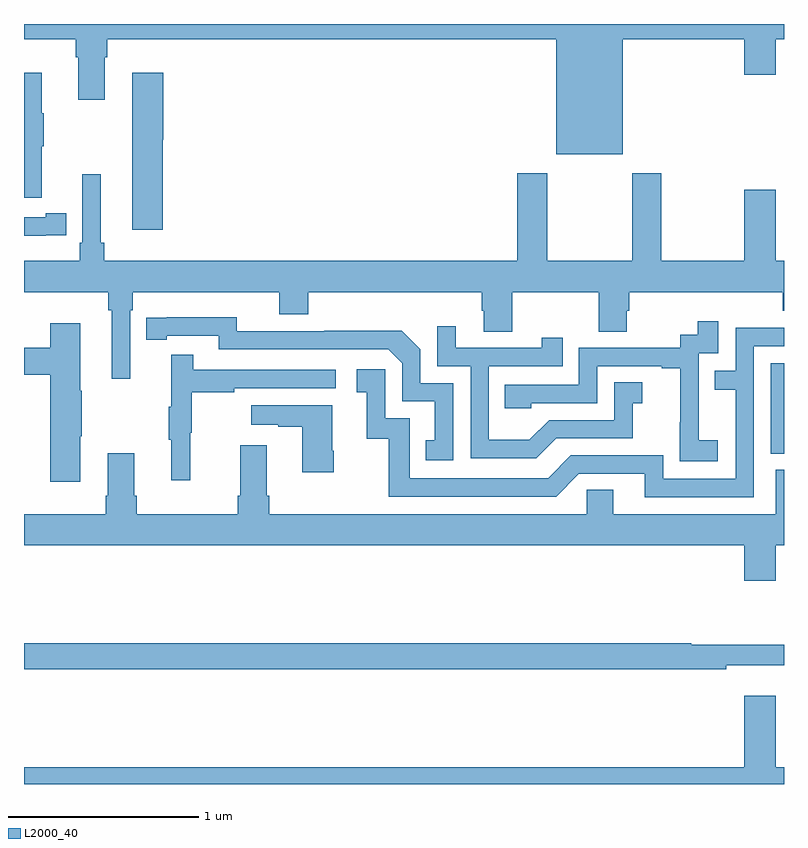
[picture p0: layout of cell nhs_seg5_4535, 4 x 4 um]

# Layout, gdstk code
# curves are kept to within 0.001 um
import gdstk
lib = gdstk.Library(unit=1e-6, precision=1e-09)
def R(c, l, rs):  # rectangles x0, y0, x1, y1
    for r in rs: c.add(gdstk.rectangle(r[:2], r[2:], *l))
def P(c, l, *ps):  # polygons
    for p in ps: c.add(gdstk.Polygon(p, *l))
L2000_40 = (2000, 40)

nhs_seg5_4535 = lib.new_cell('nhs_seg5_4535')
R(nhs_seg5_4535, L2000_40, [(380.931,894.537,381,895.014)])
P(nhs_seg5_4535, L2000_40, [(380.152,896.72),(380.792,896.72),(380.792,896.532),(380.956,896.532),(380.956,896.72),(381,896.72),(381,896.799),(377,896.799),(377,896.72),(377.273,896.72),(377.273,896.624),(377.285,896.624),(377.285,896.4),(377.425,896.4),(377.425,896.624),(377.438,896.624),(377.438,896.72),(379.802,896.72),(379.802,896.114),(380.152,896.114)],
  [(377.729,896.19),(377.734,896.19),(377.734,896.542),(377.57,896.542),(377.57,895.716),(377.729,895.716)],
  [(377.093,896.155),(377.104,896.155),(377.104,896.329),(377.093,896.329),(377.093,896.542),(377,896.542),(377,895.884),(377.093,895.884)],
  [(377.559,895.292),(377.573,895.292),(377.573,895.388),(378.344,895.388),(378.344,895.271),(378.497,895.271),(378.497,895.388),(379.409,895.388),(379.409,895.29),(379.421,895.29),(379.421,895.18),(379.569,895.18),(379.569,895.388),(380.026,895.388),(380.026,895.18),(380.173,895.18),(380.173,895.29),(380.186,895.29),(380.186,895.388),(380.993,895.388),(380.993,895.289),(381,895.289),(381,895.552),(380.956,895.552),(380.956,895.927),(380.792,895.927),(380.792,895.552),(380.355,895.552),(380.355,896.014),(380.2,896.014),(380.2,895.552),(379.755,895.552),(379.755,896.014),(379.595,896.014),(379.595,895.552),(377.423,895.552),(377.423,895.648),(377.404,895.648),(377.404,896.008),(377.307,896.008),(377.307,895.648),(377.294,895.648),(377.294,895.552),(377,895.552),(377,895.388),(377.443,895.388),(377.443,895.292),(377.462,895.292),(377.462,894.933),(377.559,894.933)],
  [(377.114,895.686),(377.222,895.686),(377.222,895.802),(377.114,895.802),(377.114,895.782),(377,895.782),(377,895.685),(377.114,895.685)],
  [(379.26,894.909),(379.086,894.909),(379.086,895.086),(378.988,895.184),(378.58,895.184),(378.58,895.182),(378.12,895.182),(378.12,895.255),(377.644,895.254),(377.644,895.138),(377.752,895.138),(377.752,895.158),(378.024,895.158),(378.024,895.086),(378.918,895.086),(378.99,895.014),(378.99,894.813),(379.163,894.813),(379.163,894.609),(379.114,894.609),(379.114,894.504),(379.26,894.504)],
  [(380.65,894.607),(380.552,894.607),(380.552,894.836),(380.55,894.836),(380.55,895.065),(380.655,895.065),(380.655,895.234),(380.547,895.234),(380.547,895.164),(380.454,895.164),(380.454,895.095),(379.92,895.095),(379.92,894.9),(379.531,894.9),(379.531,894.777),(379.671,894.777),(379.671,894.804),(380.016,894.804),(380.016,894.999),(380.357,894.999),(380.357,894.987),(380.453,894.987),(380.453,894.703),(380.452,894.703),(380.452,894.497),(380.65,894.497)],
  [(377.296,894.628),(377.304,894.628),(377.304,894.869),(377.296,894.869),(377.296,895.225),(377.138,895.225),(377.138,895.095),(377,895.095),(377,894.953),(377.138,894.953),(377.138,894.39),(377.296,894.39)],
  [(379.801,894.618),(380.205,894.618),(380.205,894.803),(380.254,894.803),(380.254,894.913),(380.106,894.913),(380.106,894.714),(379.764,894.714),(379.66,894.61),(379.446,894.61),(379.446,894.999),(379.835,894.999),(379.835,895.147),(379.724,895.147),(379.724,895.095),(379.273,895.095),(379.273,895.207),(379.176,895.207),(379.176,894.999),(379.35,894.999),(379.35,894.513),(379.696,894.513)],
  [(380.841,895.104),(381,895.104),(381,895.2),(380.745,895.2),(380.745,894.975),(380.635,894.975),(380.635,894.874),(380.745,894.874),(380.745,894.405),(380.364,894.405),(380.364,894.528),(379.878,894.528),(379.758,894.408),(379.029,894.408),(379.029,894.723),(378.9,894.723),(378.9,894.982),(378.75,894.982),(378.75,894.861),(378.803,894.861),(378.803,894.615),(378.921,894.615),(378.921,894.312),(379.8,894.312),(379.92,894.432),(380.267,894.432),(380.267,894.309),(380.841,894.309)],
  [(377.876,894.648),(377.884,894.648),(377.884,894.862),(378.107,894.862),(378.107,894.882),(378.64,894.882),(378.64,894.978),(377.891,894.978),(377.891,895.057),(377.774,895.057),(377.774,894.785),(377.763,894.785),(377.763,894.611),(377.774,894.611),(377.774,894.399),(377.876,894.399)],
  [(378.63,894.553),(378.622,894.553),(378.622,894.793),(378.195,894.793),(378.195,894.689),(378.338,894.689),(378.338,894.679),(378.464,894.679),(378.464,894.441),(378.63,894.441)],
  [(380.956,894.056),(381,894.056),(381,894.452),(380.957,894.452),(380.957,894.22),(380.101,894.22),(380.101,894.347),(379.962,894.347),(379.962,894.22),(378.29,894.22),(378.29,894.316),(378.277,894.316),(378.277,894.583),(378.137,894.583),(378.137,894.316),(378.125,894.316),(378.125,894.22),(377.594,894.22),(377.594,894.316),(377.581,894.316),(377.581,894.541),(377.441,894.541),(377.441,894.316),(377.429,894.316),(377.429,894.22),(377,894.22),(377,894.056),(380.792,894.056),(380.792,893.868),(380.956,893.868)],
  [(380.696,893.423),(381,893.423),(381,893.533),(380.513,893.533),(380.513,893.54),(377,893.54),(377,893.404),(380.696,893.404)],
  [(381,892.888),(380.956,892.888),(380.956,893.263),(380.792,893.263),(380.792,892.888),(377,892.888),(377,892.799),(381,892.799)])

lib.write_gds('nhs_seg5_4535.gds')
